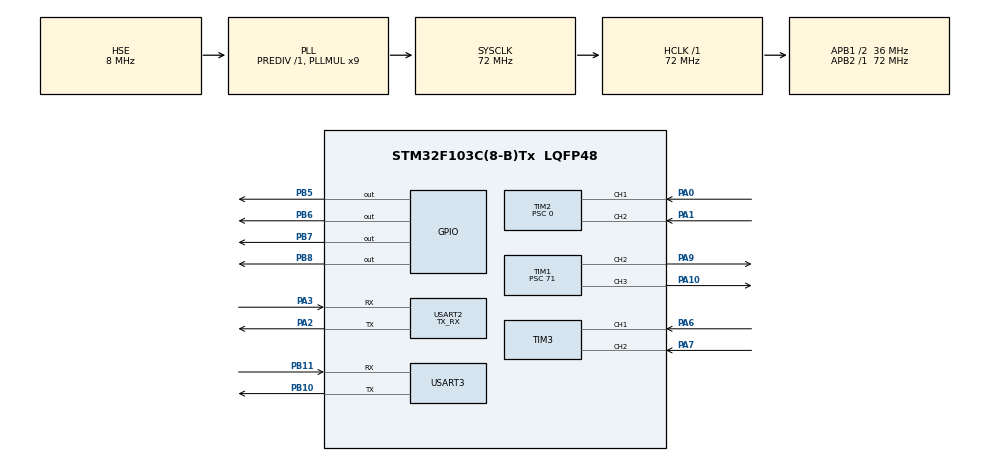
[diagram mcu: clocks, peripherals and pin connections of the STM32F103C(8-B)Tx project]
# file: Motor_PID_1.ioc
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Dma.Request0=USART2_RX
Dma.Request1=USART2_TX
Dma.USART2_RX.0.Direction=DMA_PERIPH_TO_MEMORY
Dma.USART2_RX.0.Instance=DMA1_Channel6
Dma.USART2_RX.0.MemDataAlignment=DMA_MDATAALIGN_BYTE
Dma.USART2_RX.0.MemInc=DMA_MINC_ENABLE
Dma.USART2_RX.0.Mode=DMA_NORMAL
Dma.USART2_RX.0.PeriphDataAlignment=DMA_PDATAALIGN_BYTE
Dma.USART2_RX.0.PeriphInc=DMA_PINC_DISABLE
Dma.USART2_RX.0.Priority=DMA_PRIORITY_LOW
Dma.USART2_TX.1.Direction=DMA_MEMORY_TO_PERIPH
Dma.USART2_TX.1.Instance=DMA1_Channel7
Dma.USART2_TX.1.MemDataAlignment=DMA_MDATAALIGN_BYTE
Dma.USART2_TX.1.MemInc=DMA_MINC_ENABLE
Dma.USART2_TX.1.Mode=DMA_NORMAL
Dma.USART2_TX.1.PeriphDataAlignment=DMA_PDATAALIGN_BYTE
Dma.USART2_TX.1.PeriphInc=DMA_PINC_DISABLE
Dma.USART2_TX.1.Priority=DMA_PRIORITY_LOW
Mcu.Family=STM32F1
Mcu.Name=STM32F103C(8-B)Tx
Mcu.Package=LQFP48
NVIC.DMA1_Channel6_IRQn=true\:0\:0\:false\:false\:true\:false\:true\:true
NVIC.DMA1_Channel7_IRQn=true\:0\:0\:false\:false\:true\:false\:true\:true
NVIC.PriorityGroup=NVIC_PRIORITYGROUP_4
NVIC.TIM4_IRQn=true\:0\:0\:false\:false\:true\:true\:true\:true
PA0-WKUP.Signal=S_TIM2_CH1_ETR
PA1.Signal=S_TIM2_CH2
PA10.Signal=S_TIM1_CH3
PA13.Mode=Serial_Wire
PA13.Signal=SYS_JTMS-SWDIO
PA14.Mode=Serial_Wire
PA14.Signal=SYS_JTCK-SWCLK
PA2.Mode=Asynchronous
PA2.Signal=USART2_TX
PA3.Mode=Asynchronous
PA3.Signal=USART2_RX
PA6.Signal=S_TIM3_CH1
PA7.Signal=S_TIM3_CH2
PA9.Signal=S_TIM1_CH2
PB10.Mode=Asynchronous
PB10.Signal=USART3_TX
PB11.Mode=Asynchronous
PB11.Signal=USART3_RX
PB5.Signal=GPIO_Output
PB6.Signal=GPIO_Output
PB7.Signal=GPIO_Output
PB8.Signal=GPIO_Output
PD0-OSC_IN.Mode=HSE-External-Oscillator
PD0-OSC_IN.Signal=RCC_OSC_IN
PD1-OSC_OUT.Mode=HSE-External-Oscillator
PD1-OSC_OUT.Signal=RCC_OSC_OUT
ProjectManager.HeapSize=0x200
ProjectManager.StackSize=0x400
ProjectManager.TargetToolchain=MDK-ARM V5.32
RCC.AHBFreq_Value=72000000
RCC.APB1CLKDivider=RCC_HCLK_DIV2
RCC.APB1Freq_Value=36000000
RCC.APB1TimFreq_Value=72000000
RCC.APB2Freq_Value=72000000
RCC.APB2TimFreq_Value=72000000
RCC.HCLKFreq_Value=72000000
RCC.PLLMUL=RCC_PLL_MUL9
RCC.PLLSourceVirtual=RCC_PLLSOURCE_HSE
RCC.SYSCLKFreq_VALUE=72000000
RCC.SYSCLKSource=RCC_SYSCLKSOURCE_PLLCLK
RCC.USBFreq_Value=72000000
SH.S_TIM1_CH2.0=TIM1_CH2,PWM Generation2 CH2
SH.S_TIM1_CH3.0=TIM1_CH3,PWM Generation3 CH3
SH.S_TIM2_CH1_ETR.0=TIM2_CH1,Encoder_Interface
SH.S_TIM2_CH2.0=TIM2_CH2,Encoder_Interface
SH.S_TIM3_CH1.0=TIM3_CH1,Encoder_Interface
SH.S_TIM3_CH2.0=TIM3_CH2,Encoder_Interface
TIM1.Channel-PWM\ Generation2\ CH2=TIM_CHANNEL_2
TIM1.Channel-PWM\ Generation3\ CH3=TIM_CHANNEL_3
TIM1.Period=49
TIM1.Prescaler=71
TIM2.Period=65535
TIM2.Prescaler=0
TIM4.Period=999
TIM4.Prescaler=359
USART2.Mode=MODE_TX_RX
USART2.VirtualMode=VM_ASYNC
USART3.VirtualMode=VM_ASYNC
VP_TIM1_VS_ClockSourceINT.Mode=Internal
VP_TIM4_VS_ClockSourceINT.Mode=Internal
board=custom

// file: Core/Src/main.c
/* USER CODE BEGIN Header */
/**
  ******************************************************************************
  * @file           : main.c
  * @brief          : Main program body
  ******************************************************************************
  * @attention
  *
  * Copyright (c) 2023 STMicroelectronics.
  * All rights reserved.
  *
  * This software is licensed under terms that can be found in the LICENSE file
  * in the root directory of this software component.
  * If no LICENSE file comes with this software, it is provided AS-IS.
  *
  ******************************************************************************
  */
/* USER CODE END Header */
#include "main.h"

/* USER CODE BEGIN Includes */
#include "stdio.h"
#include "string.h"
#include "math.h"
/* USER CODE END Includes */

/* USER CODE BEGIN PD */
#define R 0.12
#define r 0.0325
#define pi 3.14159
/* USER CODE END PD */

TIM_HandleTypeDef htim1;
TIM_HandleTypeDef htim2;
TIM_HandleTypeDef htim3;
TIM_HandleTypeDef htim4;

UART_HandleTypeDef huart2;
UART_HandleTypeDef huart3;
DMA_HandleTypeDef hdma_usart2_rx;
DMA_HandleTypeDef hdma_usart2_tx;

/* USER CODE BEGIN PV */
uint8_t Rx_buffer[11],Tx_buffer[10],timer_cnt = 10,cnt = 0;
int16_t enc_cnt_L=0,enc_cnt_pre_L=0,enc_cnt_R=0,enc_cnt_pre_R=0,pulse,rate_L,set_rate_L,rate_R,set_rate_R;
float Kp_L = 1.5, Kp_R = 1.4,Ki_L = 0.1 ,Ki_R = 0.1,Kd_L = 0.01,Kd_R = 0.01,T_sampling = 0.01;
int x_coord, y_coord;

float c1 = 0.3, c2 = 0.8, c3 = 0.6, c4 = 0.95, c5 = 0.4, c6 = 0.8, K1 = 600, K2 = 600,Ku_v = 200, Ku_omega = 0.1;
float e_x, e_x_norm, e_y, e_y_norm, u, u_dot, u_norm, beta_v[5],beta_omega[5];
float x1_NB, x1_NS, x1_ZE, x1_PS, x1_PB, x2_NB, x2_NS, x2_ZE, x2_PS, x2_PB;

/* USER CODE END PV */

void SystemClock_Config(void);
static void MX_GPIO_Init(void);
static void MX_DMA_Init(void);
static void MX_TIM1_Init(void);
static void MX_TIM2_Init(void);
static void MX_TIM3_Init(void);
static void MX_USART2_UART_Init(void);
static void MX_USART3_UART_Init(void);
static void MX_TIM4_Init(void);
/* USER CODE BEGIN PFP */
void HAL_TIM_PeriodElapsedCallback(TIM_HandleTypeDef *htim);
void HAL_UART_RxCpltCallback(UART_HandleTypeDef *huart);
float HamLienThuocHinhThang(float x_ht, float L_ht, float C1_ht, float C2_ht, float R_ht);
float HamLienThuocHinhTamGiac(float x_htg, float L_htg, float C_htg, float R_htg);
float GiaiMo(float *beta,float y_NB, float y_NS, float y_PS, float y_PB);
/* USER CODE END PFP */

int main(void)
{

  /* MCU Configuration--------------------------------------------------------*/

  /* Reset of all peripherals, Initializes the Flash interface and the Systick. */
  HAL_Init();

  /* Configure the system clock */
  SystemClock_Config();

  /* Initialize all configured peripherals */
  MX_GPIO_Init();
  MX_DMA_Init();
  MX_TIM1_Init();
  MX_TIM2_Init();
  MX_TIM3_Init();
  MX_USART2_UART_Init();
  MX_USART3_UART_Init();
  MX_TIM4_Init();
  /* USER CODE BEGIN 2 */
	HAL_TIM_PWM_Start(&htim1,TIM_CHANNEL_2);
	HAL_TIM_PWM_Start(&htim1,TIM_CHANNEL_3);
	HAL_TIM_Encoder_Start(&htim2,TIM_CHANNEL_1);
	HAL_TIM_Encoder_Start(&htim2,TIM_CHANNEL_2);
	HAL_TIM_Encoder_Start(&htim3,TIM_CHANNEL_1);
	HAL_TIM_Encoder_Start(&htim3,TIM_CHANNEL_2);
	__HAL_TIM_SetCounter(&htim2,0x8000);
	__HAL_TIM_SetCounter(&htim3,0x8000);
	HAL_UART_Receive_DMA(&huart2,Rx_buffer,11);
	HAL_GPIO_WritePin(GPIOB, GPIO_PIN_5|GPIO_PIN_6|GPIO_PIN_7|GPIO_PIN_8, GPIO_PIN_RESET);
	HAL_TIM_Base_Start_IT(&htim4);
  /* USER CODE END 2 */

  /* Infinite loop */
  while (1)
  {

    /* USER CODE BEGIN 3 */
		cnt++;
		HAL_Delay(100);
  }
  /* USER CODE END 3 */
}

void SystemClock_Config(void)
{
  RCC_OscInitTypeDef RCC_OscInitStruct = {0};
  RCC_ClkInitTypeDef RCC_ClkInitStruct = {0};

  /** Initializes the RCC Oscillators according to the specified parameters
  * in the RCC_OscInitTypeDef structure.
  */
  RCC_OscInitStruct.OscillatorType = RCC_OSCILLATORTYPE_HSE;
  RCC_OscInitStruct.HSEState = RCC_HSE_ON;
  RCC_OscInitStruct.HSEPredivValue = RCC_HSE_PREDIV_DIV1;
  RCC_OscInitStruct.HSIState = RCC_HSI_ON;
  RCC_OscInitStruct.PLL.PLLState = RCC_PLL_ON;
  RCC_OscInitStruct.PLL.PLLSource = RCC_PLLSOURCE_HSE;
  RCC_OscInitStruct.PLL.PLLMUL = RCC_PLL_MUL9;
  if (HAL_RCC_OscConfig(&RCC_OscInitStruct) != HAL_OK)
  {
    Error_Handler();
  }

  /** Initializes the CPU, AHB and APB buses clocks
  */
  RCC_ClkInitStruct.ClockType = RCC_CLOCKTYPE_HCLK|RCC_CLOCKTYPE_SYSCLK
                              |RCC_CLOCKTYPE_PCLK1|RCC_CLOCKTYPE_PCLK2;
  RCC_ClkInitStruct.SYSCLKSource = RCC_SYSCLKSOURCE_PLLCLK;
  RCC_ClkInitStruct.AHBCLKDivider = RCC_SYSCLK_DIV1;
  RCC_ClkInitStruct.APB1CLKDivider = RCC_HCLK_DIV2;
  RCC_ClkInitStruct.APB2CLKDivider = RCC_HCLK_DIV1;

  if (HAL_RCC_ClockConfig(&RCC_ClkInitStruct, FLASH_LATENCY_2) != HAL_OK)
  {
    Error_Handler();
  }
}

static void MX_TIM1_Init(void)
{

  TIM_ClockConfigTypeDef sClockSourceConfig = {0};
  TIM_MasterConfigTypeDef sMasterConfig = {0};
  TIM_OC_InitTypeDef sConfigOC = {0};
  TIM_BreakDeadTimeConfigTypeDef sBreakDeadTimeConfig = {0};

  /* USER CODE BEGIN TIM1_Init 1 */
	//Cau hinh lai prescaler
  /* USER CODE END TIM1_Init 1 */
  htim1.Instance = TIM1;
  htim1.Init.Prescaler = 7;
  htim1.Init.CounterMode = TIM_COUNTERMODE_UP;
  htim1.Init.Period = 499;
  htim1.Init.ClockDivision = TIM_CLOCKDIVISION_DIV1;
  htim1.Init.RepetitionCounter = 0;
  htim1.Init.AutoReloadPreload = TIM_AUTORELOAD_PRELOAD_DISABLE;
  if (HAL_TIM_Base_Init(&htim1) != HAL_OK)
  {
    Error_Handler();
  }
  sClockSourceConfig.ClockSource = TIM_CLOCKSOURCE_INTERNAL;
  if (HAL_TIM_ConfigClockSource(&htim1, &sClockSourceConfig) != HAL_OK)
  {
    Error_Handler();
  }
  if (HAL_TIM_PWM_Init(&htim1) != HAL_OK)
  {
    Error_Handler();
  }
  sMasterConfig.MasterOutputTrigger = TIM_TRGO_RESET;
  sMasterConfig.MasterSlaveMode = TIM_MASTERSLAVEMODE_DISABLE;
  if (HAL_TIMEx_MasterConfigSynchronization(&htim1, &sMasterConfig) != HAL_OK)
  {
    Error_Handler();
  }
  sConfigOC.OCMode = TIM_OCMODE_PWM1;
  sConfigOC.Pulse = 0;
  sConfigOC.OCPolarity = TIM_OCPOLARITY_HIGH;
  sConfigOC.OCNPolarity = TIM_OCNPOLARITY_HIGH;
  sConfigOC.OCFastMode = TIM_OCFAST_DISABLE;
  sConfigOC.OCIdleState = TIM_OCIDLESTATE_RESET;
  sConfigOC.OCNIdleState = TIM_OCNIDLESTATE_RESET;
  if (HAL_TIM_PWM_ConfigChannel(&htim1, &sConfigOC, TIM_CHANNEL_2) != HAL_OK)
  {
    Error_Handler();
  }
  if (HAL_TIM_PWM_ConfigChannel(&htim1, &sConfigOC, TIM_CHANNEL_3) != HAL_OK)
  {
    Error_Handler();
  }
  sBreakDeadTimeConfig.OffStateRunMode = TIM_OSSR_DISABLE;
  sBreakDeadTimeConfig.OffStateIDLEMode = TIM_OSSI_DISABLE;
  sBreakDeadTimeConfig.LockLevel = TIM_LOCKLEVEL_OFF;
  sBreakDeadTimeConfig.DeadTime = 0;
  sBreakDeadTimeConfig.BreakState = TIM_BREAK_DISABLE;
  sBreakDeadTimeConfig.BreakPolarity = TIM_BREAKPOLARITY_HIGH;
  sBreakDeadTimeConfig.AutomaticOutput = TIM_AUTOMATICOUTPUT_DISABLE;
  if (HAL_TIMEx_ConfigBreakDeadTime(&htim1, &sBreakDeadTimeConfig) != HAL_OK)
  {
    Error_Handler();
  }
  HAL_TIM_MspPostInit(&htim1);

}

static void MX_TIM2_Init(void)
{

  TIM_Encoder_InitTypeDef sConfig = {0};
  TIM_MasterConfigTypeDef sMasterConfig = {0};

  htim2.Instance = TIM2;
  htim2.Init.Prescaler = 0;
  htim2.Init.CounterMode = TIM_COUNTERMODE_UP;
  htim2.Init.Period = 65535;
  htim2.Init.ClockDivision = TIM_CLOCKDIVISION_DIV1;
  htim2.Init.AutoReloadPreload = TIM_AUTORELOAD_PRELOAD_DISABLE;
  sConfig.EncoderMode = TIM_ENCODERMODE_TI12;
  sConfig.IC1Polarity = TIM_ICPOLARITY_RISING;
  sConfig.IC1Selection = TIM_ICSELECTION_DIRECTTI;
  sConfig.IC1Prescaler = TIM_ICPSC_DIV1;
  sConfig.IC1Filter = 0;
  sConfig.IC2Polarity = TIM_ICPOLARITY_RISING;
  sConfig.IC2Selection = TIM_ICSELECTION_DIRECTTI;
  sConfig.IC2Prescaler = TIM_ICPSC_DIV1;
  sConfig.IC2Filter = 0;
  if (HAL_TIM_Encoder_Init(&htim2, &sConfig) != HAL_OK)
  {
    Error_Handler();
  }
  sMasterConfig.MasterOutputTrigger = TIM_TRGO_RESET;
  sMasterConfig.MasterSlaveMode = TIM_MASTERSLAVEMODE_DISABLE;
  if (HAL_TIMEx_MasterConfigSynchronization(&htim2, &sMasterConfig) != HAL_OK)
  {
    Error_Handler();
  }

}

static void MX_TIM3_Init(void)
{

  TIM_Encoder_InitTypeDef sConfig = {0};
  TIM_MasterConfigTypeDef sMasterConfig = {0};

  htim3.Instance = TIM3;
  htim3.Init.Prescaler = 0;
  htim3.Init.CounterMode = TIM_COUNTERMODE_UP;
  htim3.Init.Period = 65535;
  htim3.Init.ClockDivision = TIM_CLOCKDIVISION_DIV1;
  htim3.Init.AutoReloadPreload = TIM_AUTORELOAD_PRELOAD_DISABLE;
  sConfig.EncoderMode = TIM_ENCODERMODE_TI1;
  sConfig.IC1Polarity = TIM_ICPOLARITY_RISING;
  sConfig.IC1Selection = TIM_ICSELECTION_DIRECTTI;
  sConfig.IC1Prescaler = TIM_ICPSC_DIV1;
  sConfig.IC1Filter = 0;
  sConfig.IC2Polarity = TIM_ICPOLARITY_RISING;
  sConfig.IC2Selection = TIM_ICSELECTION_DIRECTTI;
  sConfig.IC2Prescaler = TIM_ICPSC_DIV1;
  sConfig.IC2Filter = 0;
  if (HAL_TIM_Encoder_Init(&htim3, &sConfig) != HAL_OK)
  {
    Error_Handler();
  }
  sMasterConfig.MasterOutputTrigger = TIM_TRGO_RESET;
  sMasterConfig.MasterSlaveMode = TIM_MASTERSLAVEMODE_DISABLE;
  if (HAL_TIMEx_MasterConfigSynchronization(&htim3, &sMasterConfig) != HAL_OK)
  {
    Error_Handler();
  }

}

static void MX_TIM4_Init(void)
{

  TIM_ClockConfigTypeDef sClockSourceConfig = {0};
  TIM_MasterConfigTypeDef sMasterConfig = {0};

  htim4.Instance = TIM4;
  htim4.Init.Prescaler = 359;
  htim4.Init.CounterMode = TIM_COUNTERMODE_UP;
  htim4.Init.Period = 999;
  htim4.Init.ClockDivision = TIM_CLOCKDIVISION_DIV1;
  htim4.Init.AutoReloadPreload = TIM_AUTORELOAD_PRELOAD_DISABLE;
  if (HAL_TIM_Base_Init(&htim4) != HAL_OK)
  {
    Error_Handler();
  }
  sClockSourceConfig.ClockSource = TIM_CLOCKSOURCE_INTERNAL;
  if (HAL_TIM_ConfigClockSource(&htim4, &sClockSourceConfig) != HAL_OK)
  {
    Error_Handler();
  }
  sMasterConfig.MasterOutputTrigger = TIM_TRGO_RESET;
  sMasterConfig.MasterSlaveMode = TIM_MASTERSLAVEMODE_DISABLE;
  if (HAL_TIMEx_MasterConfigSynchronization(&htim4, &sMasterConfig) != HAL_OK)
  {
    Error_Handler();
  }

}

static void MX_USART2_UART_Init(void)
{

  huart2.Instance = USART2;
  huart2.Init.BaudRate = 115200;
  huart2.Init.WordLength = UART_WORDLENGTH_8B;
  huart2.Init.StopBits = UART_STOPBITS_1;
  huart2.Init.Parity = UART_PARITY_NONE;
  huart2.Init.Mode = UART_MODE_TX_RX;
  huart2.Init.HwFlowCtl = UART_HWCONTROL_NONE;
  huart2.Init.OverSampling = UART_OVERSAMPLING_16;
  if (HAL_UART_Init(&huart2) != HAL_OK)
  {
    Error_Handler();
  }

}

static void MX_USART3_UART_Init(void)
{

  huart3.Instance = USART3;
  huart3.Init.BaudRate = 115200;
  huart3.Init.WordLength = UART_WORDLENGTH_8B;
  huart3.Init.StopBits = UART_STOPBITS_1;
  huart3.Init.Parity = UART_PARITY_NONE;
  huart3.Init.Mode = UART_MODE_TX_RX;
  huart3.Init.HwFlowCtl = UART_HWCONTROL_NONE;
  huart3.Init.OverSampling = UART_OVERSAMPLING_16;
  if (HAL_UART_Init(&huart3) != HAL_OK)
  {
    Error_Handler();
  }

}

static void MX_DMA_Init(void)
{

  /* DMA controller clock enable */
  __HAL_RCC_DMA1_CLK_ENABLE();

  /* DMA interrupt init */
  /* DMA1_Channel6_IRQn interrupt configuration */
  HAL_NVIC_SetPriority(DMA1_Channel6_IRQn, 0, 0);
  HAL_NVIC_EnableIRQ(DMA1_Channel6_IRQn);
  /* DMA1_Channel7_IRQn interrupt configuration */
  HAL_NVIC_SetPriority(DMA1_Channel7_IRQn, 0, 0);
  HAL_NVIC_EnableIRQ(DMA1_Channel7_IRQn);

}

static void MX_GPIO_Init(void)
{
  GPIO_InitTypeDef GPIO_InitStruct = {0};

  /* GPIO Ports Clock Enable */
  __HAL_RCC_GPIOD_CLK_ENABLE();
  __HAL_RCC_GPIOA_CLK_ENABLE();
  __HAL_RCC_GPIOB_CLK_ENABLE();

  /*Configure GPIO pin Output Level */
  HAL_GPIO_WritePin(GPIOB, GPIO_PIN_5|GPIO_PIN_6|GPIO_PIN_7|GPIO_PIN_8, GPIO_PIN_RESET);

  /*Configure GPIO pins : PB5 PB6 PB7 PB8 */
  GPIO_InitStruct.Pin = GPIO_PIN_5|GPIO_PIN_6|GPIO_PIN_7|GPIO_PIN_8;
  GPIO_InitStruct.Mode = GPIO_MODE_OUTPUT_PP;
  GPIO_InitStruct.Pull = GPIO_NOPULL;
  GPIO_InitStruct.Speed = GPIO_SPEED_FREQ_LOW;
  HAL_GPIO_Init(GPIOB, &GPIO_InitStruct);

}

/* USER CODE BEGIN 4 */

void HAL_TIM_PeriodElapsedCallback(TIM_HandleTypeDef *htim)
{
	if(htim->Instance==htim4.Instance)//Interrupt Timer4 10ms
	{		 //PID
			int e_L,e_R,u_L,u_R;
			float pid_L,pid_R;
			static float pid_pre_L=0,pid_pre_R=0;
			static int e_pre_pre_L=0,e_pre_L=0,e_pre_pre_R=0,e_pre_R=0;
			set_rate_L = 30;
			set_rate_R = 100;
			//PID Left Motor
			enc_cnt_pre_L = enc_cnt_L;
			enc_cnt_L = __HAL_TIM_GetCounter(&htim2);
			pulse = enc_cnt_L - enc_cnt_pre_L;
			if (pulse > 32767) pulse = pulse - 65536;
			if (pulse < -32768) pulse = pulse + 65536;
			rate_L = pulse*1500/330;
			e_L = set_rate_L - rate_L;
			pid_L = pid_pre_L + Kp_L*(e_L-e_pre_L)+Ki_L*T_sampling*(e_L+e_pre_L)/2.0+Kd_L*(e_L-2*e_pre_pre_L+e_pre_L)/T_sampling;
			u_L = pid_L;
			e_pre_pre_L = e_pre_L;
			e_pre_L = e_L;
			pid_pre_L = pid_L;
			//PID Right Motor
			enc_cnt_pre_R = enc_cnt_R;
			enc_cnt_R = __HAL_TIM_GetCounter(&htim3);
			pulse = enc_cnt_R - enc_cnt_pre_R;
			if (pulse > 32767) pulse = pulse - 65536;
			if (pulse < -32768) pulse = pulse + 65536;
			rate_R = pulse*1500/330;
			e_R = set_rate_R - rate_R;
			pid_R = pid_pre_R + Kp_R*(e_R-e_pre_R)+Ki_R*T_sampling*(e_R+e_pre_R)/2.0+Kd_R*(e_R-2*e_pre_pre_R+e_pre_R)/T_sampling;
			u_R = pid_R;
			e_pre_pre_R = e_pre_R;
			e_pre_R = e_R;
			pid_pre_R = pid_R;
			//PWM Output
			if (u_L > 499) u_L = 499;
			else if (u_L < -499) u_L = -499;
			if (u_R > 499) u_R = 499;
			else if (u_R < -499) u_R = -499;
			if (u_L > 0)
			{
				__HAL_TIM_SetCompare(&htim1,TIM_CHANNEL_3,u_L);
				HAL_GPIO_WritePin(GPIOB,GPIO_PIN_5,GPIO_PIN_SET);
				HAL_GPIO_WritePin(GPIOB,GPIO_PIN_6,GPIO_PIN_RESET);
			}
			else
			{
				__HAL_TIM_SetCompare(&htim1,TIM_CHANNEL_3,-u_L);
				HAL_GPIO_WritePin(GPIOB,GPIO_PIN_5,GPIO_PIN_RESET);
				HAL_GPIO_WritePin(GPIOB,GPIO_PIN_6,GPIO_PIN_SET);
			}
			if (u_R > 0)
			{
				__HAL_TIM_SetCompare(&htim1,TIM_CHANNEL_2,u_R);
				HAL_GPIO_WritePin(GPIOB,GPIO_PIN_7,GPIO_PIN_SET);
				HAL_GPIO_WritePin(GPIOB,GPIO_PIN_8,GPIO_PIN_RESET);
			}
			else
			{
				__HAL_TIM_SetCompare(&htim1,TIM_CHANNEL_2,-u_R);
				HAL_GPIO_WritePin(GPIOB,GPIO_PIN_7,GPIO_PIN_RESET);
				HAL_GPIO_WritePin(GPIOB,GPIO_PIN_8,GPIO_PIN_SET);
			}
			timer_cnt++;
		}
}

void HAL_UART_RxCpltCallback(UART_HandleTypeDef *huart)
{
	if (huart->Instance == huart2.Instance)
	{
		HAL_UART_Receive_DMA(&huart2,Rx_buffer,11);
		if ((Rx_buffer[0]!=0xFF)||(Rx_buffer[1]!=0x02)||(Rx_buffer[10]!=0xAA))
		{}
		else
		{
			x_coord = (Rx_buffer[2]-48)*1000+(Rx_buffer[3]-48)*100+(Rx_buffer[4]-48)*10+(Rx_buffer[5]-48);
			y_coord = (Rx_buffer[6]-48)*1000+(Rx_buffer[7]-48)*100+(Rx_buffer[8]-48)*10+(Rx_buffer[9]-48);
			//Fuzzy controller calculating v and omega
			static int e_pre = 0;
			static float set_v_norm = 0,set_v_dot_pre = 0;
			float set_v,set_v_dot, set_omega;
			e_x = 600-x_coord;
			e_y = 600-y_coord;
			//Chuan hoa
		e_x_norm = e_x/K1;
		e_y_norm = e_y/K2;
		if (e_x_norm > 1) e_x_norm = 1;
		else if (e_x_norm < -1) e_x_norm = -1;
		if (e_y_norm > 1) e_y_norm = 1;
		else if (e_y_norm < -1) e_y_norm = -1;
		//e_x_norm = 0.5;
		//e_y_norm = 0;
		//Mo hoa
		x1_NB = HamLienThuocHinhThang(e_x_norm,-3,-2,-c2,-c1);
		x1_NS = HamLienThuocHinhTamGiac(e_x_norm,-c2,-c1,0);
		x1_ZE = HamLienThuocHinhTamGiac(e_x_norm,-c1,0,c1);
		x1_PS = HamLienThuocHinhTamGiac(e_x_norm,0,c1,c2);
		x1_PB = HamLienThuocHinhThang(e_x_norm,c1,c2,2,3);

		x2_NB = HamLienThuocHinhThang(e_y_norm,-3,-2,-c4,-c3);
		x2_NS = HamLienThuocHinhTamGiac(e_y_norm,-c4,-c3,0);
		x2_ZE = HamLienThuocHinhTamGiac(e_y_norm,-c3,0,c3);
		x2_PS = HamLienThuocHinhTamGiac(e_y_norm,0,c3,c4);
		x2_PB = HamLienThuocHinhThang(e_y_norm,c3,c4,2,3);

		beta_omega[0] = x1_NB;
		beta_omega[1] = x1_NS;
		beta_omega[2] = x1_ZE;
		beta_omega[3] = x1_PS;
		beta_omega[4] = x1_PB;

		beta_v[0] = x2_NB;
		beta_v[1] = x2_NS;
		beta_v[2] = x2_ZE;
		beta_v[3] = x2_PS;
		beta_v[4] = x2_PB;

		//Luat dieu khien
		set_v_dot = GiaiMo(beta_v,-1,-0.4,0.2,0.5);
		set_omega = GiaiMo(beta_omega,-1,-0.4,0.4,1);
		set_v_norm = set_v_norm+(set_v_dot+set_v_dot_pre)/2*T_sampling;
		if (set_v_norm < 0.0) set_v_norm = 0.0;
		else if(set_v_norm > 2.0) set_v_norm = 2.0;
		set_v = set_v_norm * Ku_v;
		set_omega = Ku_omega * set_omega;
		set_rate_L = (set_v-set_omega*R)/r * 60/(2*pi);
		set_rate_R = (set_v+set_omega*R)/r * 60/(2*pi);
		}
		}
}

float Max_Value(float *array, uint8_t a, uint8_t b)
{
	float max;
	max = array[a];
	for (int i = a; i < b;i++)
	{
		if (array[i] < array[i+1])
		{
			max = array[i+1];
		}
	}
	return max;
}

float HamLienThuocHinhThang(float x_ht, float L_ht, float C1_ht, float C2_ht, float R_ht)
{
	float y;
	if (x_ht <= L_ht) y = 0;
	else if(x_ht < C1_ht) y = (x_ht-L_ht)/(C1_ht - L_ht);
	else if(x_ht <= C2_ht) y = 1;
	else if(x_ht < R_ht) y = (R_ht-x_ht)/(R_ht-C2_ht);
	else y = 0;
	return y;
}

float HamLienThuocHinhTamGiac(float x_htg, float L_htg, float C_htg, float R_htg)
{
	float y;
	if (x_htg <= L_htg) y = 0;
	else if(x_htg < C_htg) y = (x_htg-L_htg)/(C_htg - L_htg);
	else if(x_htg < R_htg) y = (R_htg-x_htg)/(R_htg-C_htg);
	else y = 0;
	return y;
}

float GiaiMo(float *beta,float y_NB, float y_NS, float y_PS, float y_PB)
{
	float y;
	float Num, Den;
	Num = beta[0]*y_NB+beta[1]*y_NS+beta[2]*0+beta[3]*y_PS+beta[4]*y_PB;
	Den = beta[0]+beta[1]+beta[2]+beta[3]+beta[4];
	y = Num/Den;
	return y;
}

/* USER CODE END 4 */

void Error_Handler(void)
{
  __disable_irq();
  while (1)
  {
  }
}
